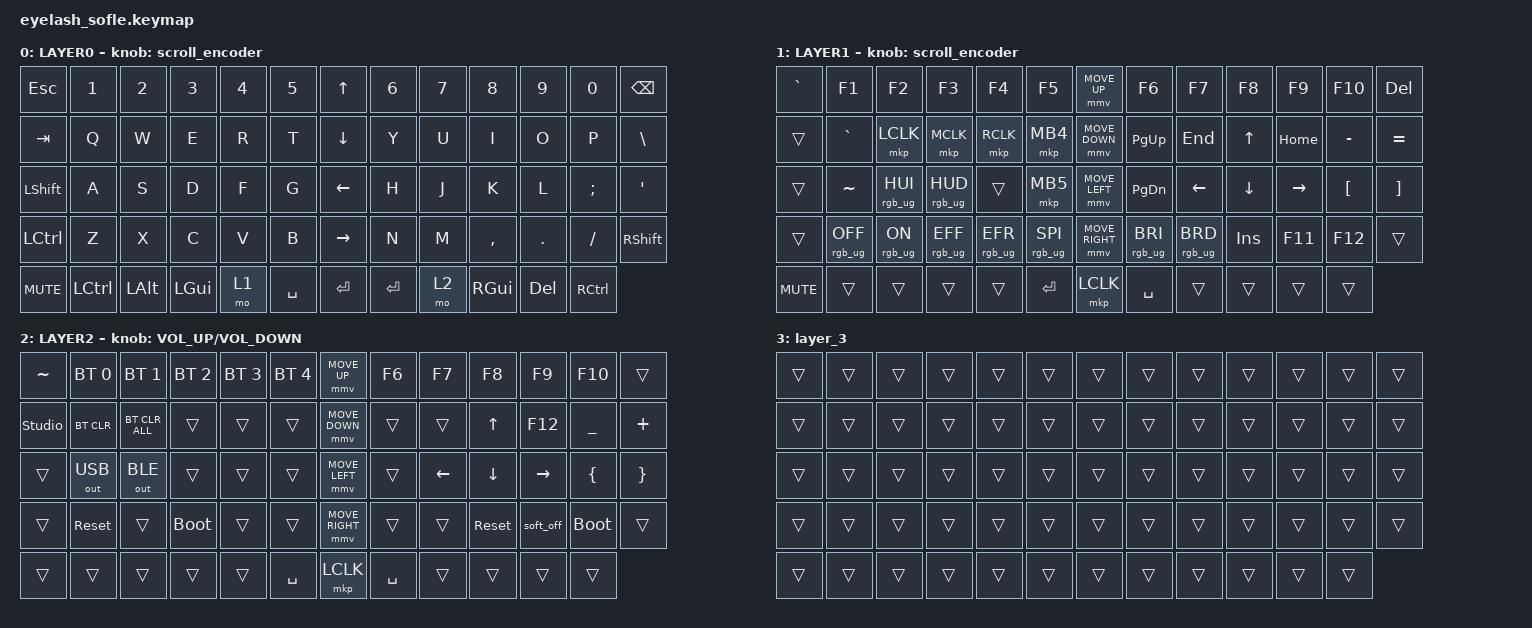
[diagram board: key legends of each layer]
#include <behaviors.dtsi>
#include <dt-bindings/zmk/bt.h>
#include <dt-bindings/zmk/keys.h>
#include <dt-bindings/zmk/mouse.h>
#include <dt-bindings/zmk/outputs.h>
#include <dt-bindings/zmk/rgb.h>

#include <input/processors.dtsi>

/*

   &mmv_input_listener {
       input-processors = <&zip_xy_scaler 2 1>;
   };

   &msc_input_listener {
       input-processors = <&zip_xy_scaler 2 1>;
   };

 */

#define ZMK_MOUSE_DEFAULT_MOVE_VAL 1200  // 600
#define ZMK_MOUSE_DEFAULT_SCRL_VAL 20    // 10


/ {
    behaviors {
        mmv {
            acceleration-exponent = <1>;      // 1
            time-to-max-speed-ms = <900>;    // 40
            delay-ms = <0>;                   // 0
        };

        msc {
            acceleration-exponent = <1>;      // 0
            time-to-max-speed-ms = <400>;      // 500
            delay-ms = <0>;                   //   10
        };
    };

    macros {
        app_next: app_next {
            compatible = "zmk,behavior-macro";
            #binding-cells = <0>;
            bindings = <&macro_press &kp LGUI>, <&macro_tap &kp TAB>, <&macro_release &kp LGUI>;
        };
        
        app_prev: app_prev {
            compatible = "zmk,behavior-macro";
            #binding-cells = <0>;
            bindings = <&macro_press &kp LGUI &kp LSHFT>, <&macro_tap &kp TAB>, <&macro_release &kp LSHFT &kp LGUI>;
        };
    };

    scroll_encoder: scroll_encoder {
        compatible = "zmk,behavior-sensor-rotate";
        #sensor-binding-cells = <0>;
        bindings = <&app_next>, <&app_prev>;
        tap-ms = <150>;
    };

    keymap {
        compatible = "zmk,keymap";

        layer0 {
            bindings = <
                &kp ESC         &kp N1     &kp N2        &kp N3        &kp N4  &kp N5       &kp UP_ARROW     &kp N6     &kp N7      &kp N8          &kp N9      &kp N0      &kp BACKSPACE
                &kp TAB         &kp Q      &kp W         &kp E         &kp R   &kp T        &kp DOWN_ARROW   &kp Y      &kp U       &kp I           &kp O       &kp P       &kp BSLH
                &kp LSHFT       &kp A      &kp S         &kp D         &kp F   &kp G        &kp LEFT_ARROW   &kp H      &kp J       &kp K           &kp L       &kp SEMI    &kp APOS
                &kp LCTRL       &kp Z      &kp X         &kp C         &kp V   &kp B        &kp RIGHT_ARROW  &kp N      &kp M       &kp COMMA       &kp DOT     &kp FSLH    &kp RIGHT_SHIFT
                &kp C_MUTE      &kp LCTRL  &kp LEFT_ALT  &kp LEFT_GUI  &mo 1   &kp SPACE    &kp ENTER        &kp ENTER  &mo 2       &kp RIGHT_GUI   &kp DELETE  &kp RCTRL
            >;

            sensor-bindings = <&scroll_encoder>;
            display-name = "LAYER0";
        };

        layer_1 {
            bindings = <
                &kp GRAVE   &kp F1           &kp F2          &kp F3           &kp F4           &kp F5             &mmv MOVE_UP     &kp F6           &kp F7           &kp F8      &kp F9     &kp F10           &kp DELETE
                &trans      &kp GRAVE        &mkp LCLK       &mkp MCLK        &mkp RCLK        &mkp MB4           &mmv MOVE_DOWN   &kp PG_UP        &kp END          &kp UP      &kp HOME   &kp MINUS         &kp EQUAL
                &trans      &kp TILDE        &rgb_ug RGB_HUI &rgb_ug RGB_HUD  &trans           &mkp MB5           &mmv MOVE_LEFT   &kp PG_DN        &kp LEFT         &kp DOWN    &kp RIGHT  &kp LEFT_BRACKET  &kp RIGHT_BRACKET
                &trans      &rgb_ug RGB_OFF  &rgb_ug RGB_ON  &rgb_ug RGB_EFF  &rgb_ug RGB_EFR  &rgb_ug RGB_SPI    &mmv MOVE_RIGHT  &rgb_ug RGB_BRI  &rgb_ug RGB_BRD  &kp INSERT  &kp F11    &kp F12           &trans
                &kp C_MUTE  &trans           &trans          &trans           &trans           &kp ENTER          &mkp LCLK        &kp SPACE        &trans           &trans      &trans     &trans
            >;

            sensor-bindings = <&scroll_encoder>;
            display-name = "LAYER1";
        };

        layer_2 {
            bindings = <
                &kp TILDE       &bt BT_SEL 0  &bt BT_SEL 1    &bt BT_SEL 2  &bt BT_SEL 3  &bt BT_SEL 4    &mmv MOVE_UP     &kp F6  &kp F7   &kp F8      &kp F9     &kp F10      &trans
                &studio_unlock  &bt BT_CLR    &bt BT_CLR_ALL  &trans        &trans        &trans          &mmv MOVE_DOWN   &trans  &trans   &kp UP      &kp F12    &kp UNDER    &kp PLUS
                &trans          &out OUT_USB  &out OUT_BLE    &trans        &trans        &trans          &mmv MOVE_LEFT   &trans  &kp LEFT &kp DOWN    &kp RIGHT  &kp LBRC     &kp RBRC
                &trans          &sys_reset    &trans          &bootloader   &trans        &trans          &mmv MOVE_RIGHT  &trans  &trans   &sys_reset  &soft_off  &bootloader  &trans
                &trans          &trans        &trans          &trans        &trans        &kp SPACE       &mkp LCLK        &kp SPACE  &trans   &trans      &trans     &trans
            >;

            sensor-bindings = <&inc_dec_kp C_VOLUME_UP C_VOLUME_DOWN>;
            display-name = "LAYER2";
        };

        layer_3 {
            bindings = <
                &trans  &trans  &trans  &trans  &trans  &trans    &trans  &trans  &trans  &trans  &trans  &trans  &trans
                &trans  &trans  &trans  &trans  &trans  &trans    &trans  &trans  &trans  &trans  &trans  &trans  &trans
                &trans  &trans  &trans  &trans  &trans  &trans    &trans  &trans  &trans  &trans  &trans  &trans  &trans
                &trans  &trans  &trans  &trans  &trans  &trans    &trans  &trans  &trans  &trans  &trans  &trans  &trans
                &trans  &trans  &trans  &trans  &trans  &trans    &trans  &trans  &trans  &trans  &trans  &trans
            >;
        };
    };
};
